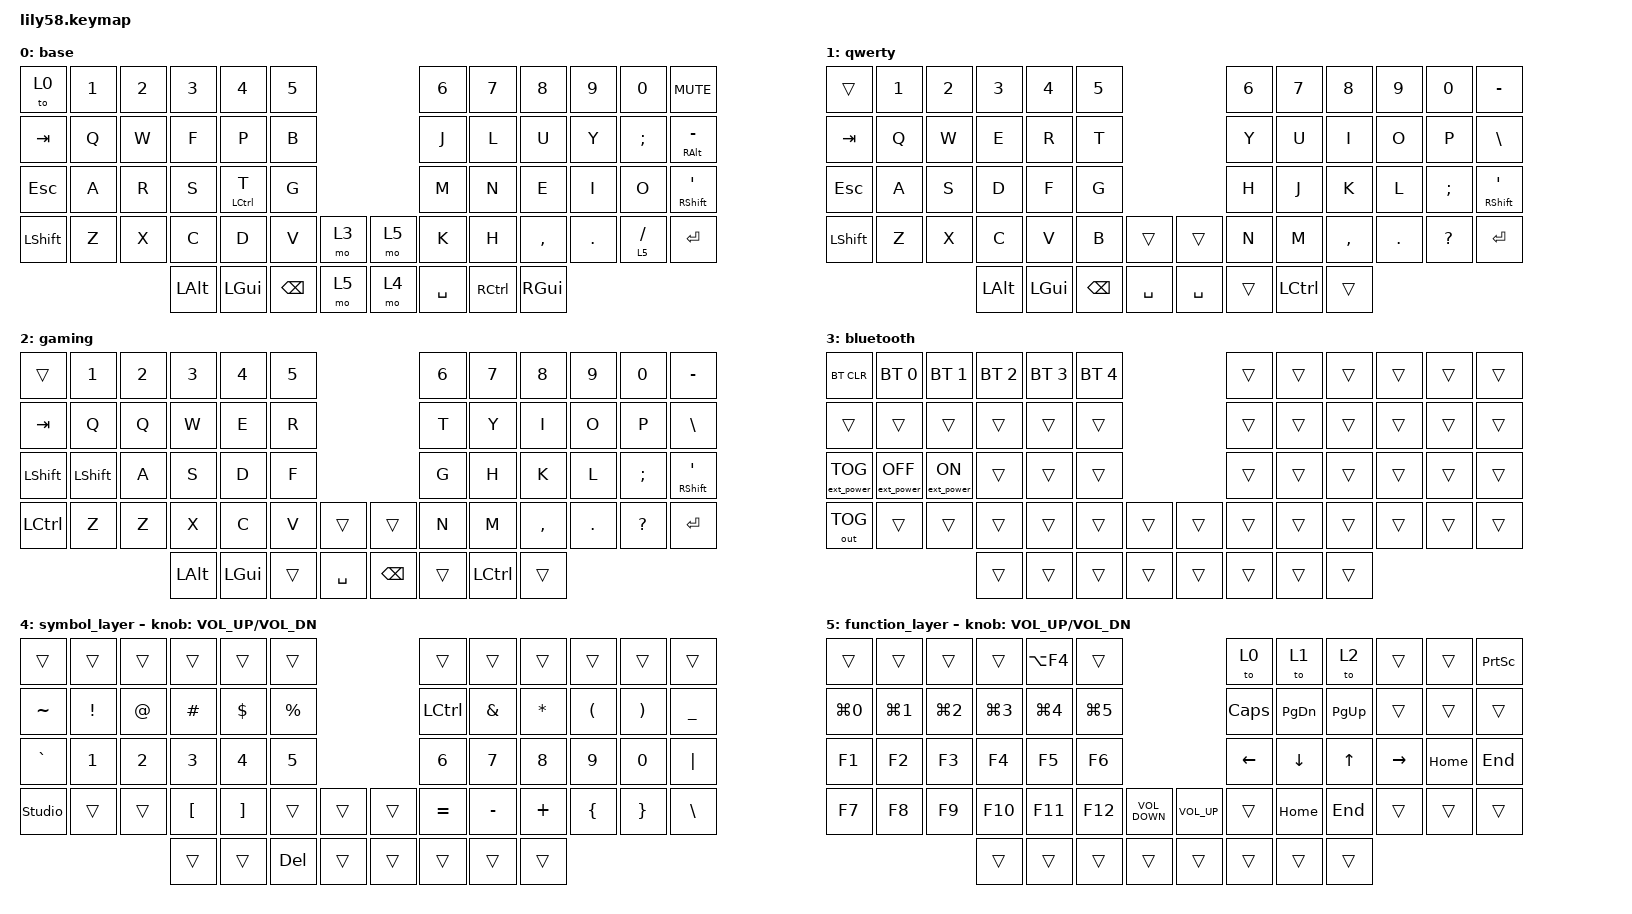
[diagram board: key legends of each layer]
/*
 * Copyright (c) 2020 The ZMK Contributors
 *
 * SPDX-License-Identifier: MIT
 */

#include <behaviors.dtsi>
#include <dt-bindings/zmk/bt.h>
#include <dt-bindings/zmk/ext_power.h>
#include <dt-bindings/zmk/keys.h>
#include <dt-bindings/zmk/outputs.h>

&mt { flavor = "balanced"; };

/ {
    behaviors {
        my_hold_tap: my_hold_tap {
            compatible = "zmk,behavior-hold-tap";
            label = "MY_HOLD_TAP";
            bindings = <&kp>, <&kp>;

            #binding-cells = <2>;
            flavor = "balanced";
            tapping-term-ms = <200>;
        };
    };

    keymap {
        compatible = "zmk,keymap";

        base {
            bindings = <
&to 0           &kp NUMBER_1  &kp NUMBER_2  &kp NUMBER_3  &kp NUMBER_4        &kp NUMBER_5                   &kp NUMBER_6  &kp NUMBER_7       &kp NUMBER_8   &kp NUMBER_9  &kp NUMBER_0   &kp K_MUTE
&kp TAB         &kp Q         &kp W         &kp F         &kp P               &kp B                          &kp J         &kp L              &kp U          &kp Y         &kp SEMICOLON  &mt RIGHT_ALT MINUS
&kp ESCAPE      &kp A         &kp R         &kp S         &mt LEFT_CONTROL T  &kp G                          &kp M         &kp N              &kp E          &kp I         &kp O          &mt RIGHT_SHIFT SINGLE_QUOTE
&kp LEFT_SHIFT  &kp Z         &kp X         &kp C         &kp D               &kp V          &mo 3    &mo 5  &kp K         &kp H              &kp COMMA      &kp PERIOD    &lt 5 SLASH    &kp ENTER
                                            &kp LEFT_ALT  &kp LEFT_GUI        &kp BACKSPACE  &mo 5    &mo 4  &kp SPACE     &kp RIGHT_CONTROL  &kp RIGHT_GUI
            >;
        };

        qwerty {
            bindings = <
&trans          &kp NUMBER_1  &kp NUMBER_2  &kp NUMBER_3  &kp NUMBER_4  &kp NUMBER_5                           &kp NUMBER_6  &kp NUMBER_7      &kp NUMBER_8  &kp NUMBER_9  &kp NUMBER_0   &kp MINUS
&kp TAB         &kp Q         &kp W         &kp E         &kp R         &kp T                                  &kp Y         &kp U             &kp I         &kp O         &kp P          &kp BACKSLASH
&kp ESCAPE      &kp A         &kp S         &kp D         &kp F         &kp G                                  &kp H         &kp J             &kp K         &kp L         &kp SEMICOLON  &mt RSHIFT SQT
&kp LEFT_SHIFT  &kp Z         &kp X         &kp C         &kp V         &kp B          &trans       &trans     &kp N         &kp M             &kp COMMA     &kp PERIOD    &kp QUESTION   &kp ENTER
                                            &kp LEFT_ALT  &kp LEFT_GUI  &kp BACKSPACE  &kp SPACE    &kp SPACE  &trans        &kp LEFT_CONTROL  &trans
            >;
        };

        gaming {
            bindings = <
&trans            &kp NUMBER_1  &kp NUMBER_2  &kp NUMBER_3  &kp NUMBER_4  &kp NUMBER_5                              &kp NUMBER_6  &kp NUMBER_7      &kp NUMBER_8  &kp NUMBER_9  &kp NUMBER_0   &kp MINUS
&kp TAB           &kp Q         &kp Q         &kp W         &kp E         &kp R                                     &kp T         &kp Y             &kp I         &kp O         &kp P          &kp BACKSLASH
&kp LSHIFT        &kp LSHIFT    &kp A         &kp S         &kp D         &kp F                                     &kp G         &kp H             &kp K         &kp L         &kp SEMICOLON  &mt RSHIFT SQT
&kp LEFT_CONTROL  &kp Z         &kp Z         &kp X         &kp C         &kp V         &trans       &trans         &kp N         &kp M             &kp COMMA     &kp PERIOD    &kp QUESTION   &kp ENTER
                                              &kp LEFT_ALT  &kp LEFT_GUI  &trans        &kp SPACE    &kp BACKSPACE  &trans        &kp LEFT_CONTROL  &trans
            >;
        };

        bluetooth {
            bindings = <
&bt BT_CLR         &bt BT_SEL 0       &bt BT_SEL 1      &bt BT_SEL 2  &bt BT_SEL 3  &bt BT_SEL 4                    &trans  &trans  &trans  &trans  &trans  &trans
&trans             &trans             &trans            &trans        &trans        &trans                          &trans  &trans  &trans  &trans  &trans  &trans
&ext_power EP_TOG  &ext_power EP_OFF  &ext_power EP_ON  &trans        &trans        &trans                          &trans  &trans  &trans  &trans  &trans  &trans
&out OUT_TOG       &trans             &trans            &trans        &trans        &trans        &trans    &trans  &trans  &trans  &trans  &trans  &trans  &trans
                                                        &trans        &trans        &trans        &trans    &trans  &trans  &trans  &trans
            >;
        };

        symbol_layer {
            // ------------------------------------------------------------------------------------------------------------
            // |       |     |     |      |      |      |                   |      |       |       |      |       |       |
            // |   `   |  1  |  2  |  3   |  4   |  5   |                   |  6   |   7   |   8   |  9   |   0   |       |
            // |   F1  |  F2 |  F3 |  F4  |  F5  |  F6  |                   |      |   <-  |   v   |  ^   |  ->   |       |
            // |   F7  |  F8 |  F9 |  F10 |  F11 |  F12 |        |  |       |  +   |   -   |   =   |  [   |   ]   |   \   |
            //                     |      |      |      |        |  |       |      |       |       |

            bindings = <
&trans          &trans           &trans        &trans            &trans             &trans                          &trans        &trans         &trans        &trans                &trans                 &trans
&kp TILDE       &kp EXCLAMATION  &kp AT_SIGN   &kp POUND         &kp DOLLAR         &kp PERCENT                     &kp LCTRL     &kp AMPERSAND  &kp ASTERISK  &kp LEFT_PARENTHESIS  &kp RIGHT_PARENTHESIS  &kp UNDERSCORE
&kp GRAVE       &kp NUMBER_1     &kp NUMBER_2  &kp NUMBER_3      &kp NUMBER_4       &kp NUMBER_5                    &kp NUMBER_6  &kp NUMBER_7   &kp NUMBER_8  &kp NUMBER_9          &kp NUMBER_0           &kp PIPE
&studio_unlock  &trans           &trans        &kp LEFT_BRACKET  &kp RIGHT_BRACKET  &trans        &trans    &trans  &kp EQUAL     &kp MINUS      &kp PLUS      &kp LBRC              &kp RBRC               &kp BACKSLASH
                                               &trans            &trans             &kp DELETE    &trans    &trans  &trans        &trans         &trans
            >;

            sensor-bindings = <&inc_dec_kp C_VOL_UP C_VOL_DN>;
        };

        function_layer {
            // ------------------------------------------------------------------------------------------------------------
            // | BTCLR | BT1 | BT2 |  BT3 |  BT4 |  BT5 |                   |      |       |       |      |       |       |
            // |  F1   |  F2 |  F3 |  F4  |  F5  |  F6  |                   |  F7  |  F8   |  F9   |  F10 |  F11  |  F12  |
            // |   `   |  !  |  @  |  #   |  $   |  %   |                   |  ^   |  &    |  *    |  (   |   )   |   ~   |
            // |       |     |     |      |      |      |        |  |       |      |  _    |  +    |  {   |   }   |  "|"  |
            //                     |      |      |      |        |  |       |      |       |       |

            bindings = <
&trans            &trans            &trans            &trans            &kp LA(F4)        &trans                                                  &to 0           &to 1           &to 2         &trans     &trans    &kp PRINTSCREEN
&kp LG(NUMBER_0)  &kp LG(NUMBER_1)  &kp LG(NUMBER_2)  &kp LG(NUMBER_3)  &kp LG(NUMBER_4)  &kp LG(NUMBER_5)                                        &kp CAPSLOCK    &kp PAGE_DOWN   &kp PAGE_UP   &trans     &trans    &trans
&kp F1            &kp F2            &kp F3            &kp F4            &kp F5            &kp F6                                                  &kp LEFT_ARROW  &kp DOWN_ARROW  &kp UP_ARROW  &kp RIGHT  &kp HOME  &kp END
&kp F7            &kp F8            &kp F9            &kp F10           &kp F11           &kp F12           &kp C_VOLUME_DOWN    &kp C_VOLUME_UP  &trans          &kp HOME        &kp END       &trans     &trans    &trans
                                                      &trans            &trans            &trans            &trans               &trans           &trans          &trans          &trans
            >;

            sensor-bindings = <&inc_dec_kp C_VOL_UP C_VOL_DN>;
        };
    };
};
